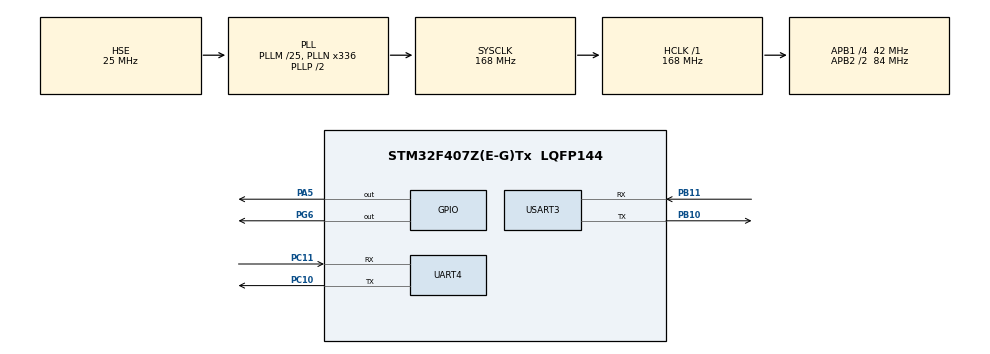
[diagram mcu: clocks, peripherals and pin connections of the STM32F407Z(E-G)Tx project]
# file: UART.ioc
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Mcu.Family=STM32F4
Mcu.Name=STM32F407Z(E-G)Tx
Mcu.Package=LQFP144
NVIC.PriorityGroup=NVIC_PRIORITYGROUP_4
NVIC.USART3_IRQn=true\:0\:0\:false\:false\:true\:true\:true\:true
PA13.Mode=Serial_Wire
PA13.Signal=SYS_JTMS-SWDIO
PA14.Mode=Serial_Wire
PA14.Signal=SYS_JTCK-SWCLK
PA5.Signal=GPIO_Output
PB10.Mode=Asynchronous
PB10.Signal=USART3_TX
PB11.Mode=Asynchronous
PB11.Signal=USART3_RX
PC10.Mode=Asynchronous
PC10.Signal=UART4_TX
PC11.Mode=Asynchronous
PC11.Signal=UART4_RX
PC14-OSC32_IN.Mode=LSE-External-Oscillator
PC14-OSC32_IN.Signal=RCC_OSC32_IN
PC15-OSC32_OUT.Mode=LSE-External-Oscillator
PC15-OSC32_OUT.Signal=RCC_OSC32_OUT
PG6.PinState=GPIO_PIN_SET
PG6.Signal=GPIO_Output
PH0-OSC_IN.Mode=HSE-External-Oscillator
PH0-OSC_IN.Signal=RCC_OSC_IN
PH1-OSC_OUT.Mode=HSE-External-Oscillator
PH1-OSC_OUT.Signal=RCC_OSC_OUT
ProjectManager.HeapSize=0x200
ProjectManager.StackSize=0x400
ProjectManager.TargetToolchain=MDK-ARM V5.32
RCC.48MHZClocksFreq_Value=84000000
RCC.AHBFreq_Value=168000000
RCC.APB1CLKDivider=RCC_HCLK_DIV4
RCC.APB1Freq_Value=42000000
RCC.APB1TimFreq_Value=84000000
RCC.APB2CLKDivider=RCC_HCLK_DIV2
RCC.APB2Freq_Value=84000000
RCC.APB2TimFreq_Value=168000000
RCC.CortexFreq_Value=168000000
RCC.HCLKFreq_Value=168000000
RCC.HSE_VALUE=25000000
RCC.HSI_VALUE=16000000
RCC.PLLM=25
RCC.PLLN=336
RCC.PLLSourceVirtual=RCC_PLLSOURCE_HSE
RCC.SYSCLKFreq_VALUE=168000000
RCC.SYSCLKSource=RCC_SYSCLKSOURCE_PLLCLK
RCC.VCOOutputFreq_Value=336000000
UART4.VirtualMode=Asynchronous
USART3.VirtualMode=VM_ASYNC
board=custom

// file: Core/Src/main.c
/* USER CODE BEGIN Header */
/**
  ******************************************************************************
  * @file           : main.c
  * @brief          : Main program body
  ******************************************************************************
  * @attention
  *
  * Copyright (c) 2025 STMicroelectronics.
  * All rights reserved.
  *
  * This software is licensed under terms that can be found in the LICENSE file
  * in the root directory of this software component.
  * If no LICENSE file comes with this software, it is provided AS-IS.
  *
  ******************************************************************************
  */
/* USER CODE END Header */
#include "main.h"
#include "usart.h"
#include "gpio.h"

/* USER CODE BEGIN Includes */
#include "string.h"
#include "stdio.h"
#include "ESP.h"
/* USER CODE END Includes */

/* USER CODE BEGIN PTD */
extern 	uint8_t Wifi_Rxbuff[256];
int fputc(int ch, FILE *f)
{
  HAL_UART_Transmit(&huart3, (uint8_t *)&ch, 1, 0xFFFF);
  return ch;
}
/* USER CODE END PTD */

void SystemClock_Config(void);

int main(void)
{

  /* MCU Configuration--------------------------------------------------------*/

  /* Reset of all peripherals, Initializes the Flash interface and the Systick. */
  HAL_Init();

  /* Configure the system clock */
  SystemClock_Config();

  /* Initialize all configured peripherals */
  MX_GPIO_Init();
  MX_USART3_UART_Init();
  MX_UART4_Init();
  /* USER CODE BEGIN 2 */
	HAL_UARTEx_ReceiveToIdle_IT(&huart3, Wifi_Rxbuff, sizeof(Wifi_Rxbuff));
	uint8_t ESP_Link=0;
	while(ESP_Link==0)  //初始化
	{
		  ESP_Link=WIFI_Set();
		  if(ESP_Link)   //初始化成功
			{
	   	    HAL_UART_Transmit(&huart4,"WIFI_Init_OK",sizeof("WIFI_Init_OK"),0xff);
			}
			else   //初始化失败
			{
			    HAL_UART_Transmit(&huart4,"WIFI_Init_ERROR",sizeof("WIFI_Init_ERROR"),0xff);
			}
	}
  /* USER CODE END 2 */

  /* Infinite loop */
  /* USER CODE BEGIN WHILE */
  while (1)
  {
		ESP_SendAT("AT+MQTTPUB=0,\"iot/user4/channel2\",\"StarsPiM0-Test\",0,0\r\n","OK",2000);
		HAL_Delay(1000);
    /* USER CODE END WHILE */

  }
}

void SystemClock_Config(void)
{
  RCC_OscInitTypeDef RCC_OscInitStruct = {0};
  RCC_ClkInitTypeDef RCC_ClkInitStruct = {0};

  /** Configure the main internal regulator output voltage
  */
  __HAL_RCC_PWR_CLK_ENABLE();
  __HAL_PWR_VOLTAGESCALING_CONFIG(PWR_REGULATOR_VOLTAGE_SCALE1);

  /** Initializes the RCC Oscillators according to the specified parameters
  * in the RCC_OscInitTypeDef structure.
  */
  RCC_OscInitStruct.OscillatorType = RCC_OSCILLATORTYPE_HSE;
  RCC_OscInitStruct.HSEState = RCC_HSE_ON;
  RCC_OscInitStruct.PLL.PLLState = RCC_PLL_ON;
  RCC_OscInitStruct.PLL.PLLSource = RCC_PLLSOURCE_HSE;
  RCC_OscInitStruct.PLL.PLLM = 25;
  RCC_OscInitStruct.PLL.PLLN = 336;
  RCC_OscInitStruct.PLL.PLLP = RCC_PLLP_DIV2;
  RCC_OscInitStruct.PLL.PLLQ = 4;
  if (HAL_RCC_OscConfig(&RCC_OscInitStruct) != HAL_OK)
  {
    Error_Handler();
  }

  /** Initializes the CPU, AHB and APB buses clocks
  */
  RCC_ClkInitStruct.ClockType = RCC_CLOCKTYPE_HCLK|RCC_CLOCKTYPE_SYSCLK
                              |RCC_CLOCKTYPE_PCLK1|RCC_CLOCKTYPE_PCLK2;
  RCC_ClkInitStruct.SYSCLKSource = RCC_SYSCLKSOURCE_PLLCLK;
  RCC_ClkInitStruct.AHBCLKDivider = RCC_SYSCLK_DIV1;
  RCC_ClkInitStruct.APB1CLKDivider = RCC_HCLK_DIV4;
  RCC_ClkInitStruct.APB2CLKDivider = RCC_HCLK_DIV2;

  if (HAL_RCC_ClockConfig(&RCC_ClkInitStruct, FLASH_LATENCY_5) != HAL_OK)
  {
    Error_Handler();
  }
}

/* USER CODE BEGIN 4 */
void HAL_UARTEx_RxEventCallback(UART_HandleTypeDef *huart, uint16_t Size)
{
    if (huart->Instance == USART3)
		{

		}
}
/* USER CODE END 4 */

void Error_Handler(void)
{
  __disable_irq();
  while (1)
  {
  }
}
